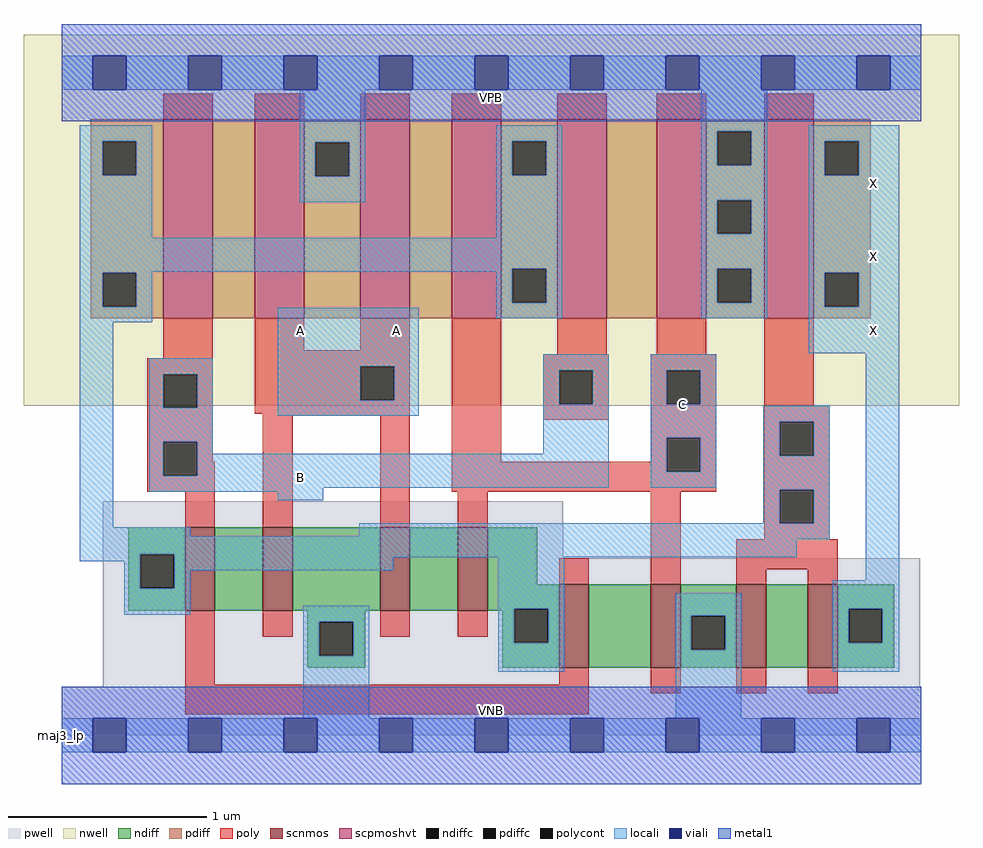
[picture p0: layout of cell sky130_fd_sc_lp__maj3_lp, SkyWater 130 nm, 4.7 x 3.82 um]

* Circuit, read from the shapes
.subckt sky130_fd_sc_lp__maj3_lp A B C VGND VNB VPB VPWR X
XM1 n1 B n2 VNB sky130_fd_pr__nfet_01v8 w=0.42 l=0.15
XM2 VGND A n1 VNB sky130_fd_pr__nfet_01v8 w=0.42 l=0.15
XM3 n3 A VGND VNB sky130_fd_pr__nfet_01v8 w=0.42 l=0.15
XM4 n2 C n3 VNB sky130_fd_pr__nfet_01v8 w=0.42 l=0.15
XM5 n4 B n2 VNB sky130_fd_pr__nfet_01v8 w=0.42 l=0.15
XM6 VGND C n4 VNB sky130_fd_pr__nfet_01v8 w=0.42 l=0.15
XM7 n5 n2 VGND VNB sky130_fd_pr__nfet_01v8 w=0.42 l=0.15
XM8 X n2 n5 VNB sky130_fd_pr__nfet_01v8 w=0.42 l=0.15
XM9 n6 B n2 VPB sky130_fd_pr__pfet_01v8_hvt w=1 l=0.25
XM10 VPWR A n6 VPB sky130_fd_pr__pfet_01v8_hvt w=1 l=0.25
XM11 n7 A VPWR VPB sky130_fd_pr__pfet_01v8_hvt w=1 l=0.25
XM12 n2 C n7 VPB sky130_fd_pr__pfet_01v8_hvt w=1 l=0.25
XM13 n8 B n2 VPB sky130_fd_pr__pfet_01v8_hvt w=1 l=0.25
XM14 VPWR C n8 VPB sky130_fd_pr__pfet_01v8_hvt w=1 l=0.25
XM15 X n2 VPWR VPB sky130_fd_pr__pfet_01v8_hvt w=1 l=0.25
.ends

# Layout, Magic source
magic
tech sky130A
magscale 1 2
<< nwell >>
rect -38 331 902 704
<< pwell >>
rect 41 178 504 235
rect 41 49 863 178
rect 0 0 864 49
<< scnmos >>
rect 124 125 154 209
rect 202 125 232 209
rect 320 125 350 209
rect 398 125 428 209
rect 500 68 530 152
rect 592 68 622 152
rect 678 68 708 152
rect 750 68 780 152
<< scpmoshvt >>
rect 102 419 152 619
rect 194 419 244 619
rect 300 419 350 619
rect 392 419 442 619
rect 498 419 548 619
rect 598 419 648 619
rect 706 419 756 619
<< ndiff >>
rect 67 182 124 209
rect 67 148 79 182
rect 113 148 124 182
rect 67 125 124 148
rect 154 125 202 209
rect 232 125 320 209
rect 350 125 398 209
rect 428 152 478 209
rect 428 127 500 152
rect 428 125 455 127
rect 247 114 305 125
rect 247 80 259 114
rect 293 80 305 114
rect 247 68 305 80
rect 443 93 455 125
rect 489 93 500 127
rect 443 68 500 93
rect 530 68 592 152
rect 622 120 678 152
rect 622 86 633 120
rect 667 86 678 120
rect 622 68 678 86
rect 708 68 750 152
rect 780 127 837 152
rect 780 93 791 127
rect 825 93 837 127
rect 780 68 837 93
<< pdiff >>
rect 29 597 102 619
rect 29 563 41 597
rect 75 563 102 597
rect 29 465 102 563
rect 29 431 41 465
rect 75 431 102 465
rect 29 419 102 431
rect 152 419 194 619
rect 244 596 300 619
rect 244 562 255 596
rect 289 562 300 596
rect 244 419 300 562
rect 350 419 392 619
rect 442 597 498 619
rect 442 563 453 597
rect 487 563 498 597
rect 442 469 498 563
rect 442 435 453 469
rect 487 435 498 469
rect 442 419 498 435
rect 548 419 598 619
rect 648 607 706 619
rect 648 573 659 607
rect 693 573 706 607
rect 648 538 706 573
rect 648 504 659 538
rect 693 504 706 538
rect 648 469 706 504
rect 648 435 659 469
rect 693 435 706 469
rect 648 419 706 435
rect 756 597 813 619
rect 756 563 767 597
rect 801 563 813 597
rect 756 465 813 563
rect 756 431 767 465
rect 801 431 813 465
rect 756 419 813 431
<< ndiffc >>
rect 79 148 113 182
rect 259 80 293 114
rect 455 93 489 127
rect 633 86 667 120
rect 791 93 825 127
<< pdiffc >>
rect 41 563 75 597
rect 41 431 75 465
rect 255 562 289 596
rect 453 563 487 597
rect 453 435 487 469
rect 659 573 693 607
rect 659 504 693 538
rect 659 435 693 469
rect 767 563 801 597
rect 767 431 801 465
<< poly >>
rect 102 619 152 645
rect 194 619 244 645
rect 300 619 350 645
rect 392 619 442 645
rect 498 619 548 645
rect 598 619 648 645
rect 706 619 756 645
rect 102 379 152 419
rect 86 363 152 379
rect 86 329 102 363
rect 136 329 152 363
rect 86 295 152 329
rect 194 387 244 419
rect 300 387 350 419
rect 194 371 350 387
rect 194 337 300 371
rect 334 337 350 371
rect 194 323 350 337
rect 86 261 102 295
rect 136 275 152 295
rect 202 321 350 323
rect 136 261 154 275
rect 86 245 154 261
rect 124 209 154 245
rect 202 209 232 321
rect 320 209 350 321
rect 392 275 442 419
rect 498 383 548 419
rect 598 383 648 419
rect 484 367 550 383
rect 484 333 500 367
rect 534 333 550 367
rect 484 317 550 333
rect 592 367 658 383
rect 592 333 608 367
rect 642 333 658 367
rect 592 299 658 333
rect 592 275 608 299
rect 392 265 608 275
rect 642 265 658 299
rect 392 245 658 265
rect 706 331 756 419
rect 706 315 772 331
rect 706 281 722 315
rect 756 281 772 315
rect 706 247 772 281
rect 398 209 428 245
rect 500 152 530 178
rect 592 152 622 245
rect 706 213 722 247
rect 756 213 772 247
rect 706 197 772 213
rect 678 167 780 197
rect 678 152 708 167
rect 750 152 780 167
rect 124 51 154 125
rect 202 99 232 125
rect 320 99 350 125
rect 398 99 428 125
rect 500 51 530 68
rect 124 21 530 51
rect 592 42 622 68
rect 678 42 708 68
rect 750 42 780 68
<< polycont >>
rect 102 329 136 363
rect 300 337 334 371
rect 102 261 136 295
rect 500 333 534 367
rect 608 333 642 367
rect 608 265 642 299
rect 722 281 756 315
rect 722 213 756 247
<< locali >>
rect 0 649 31 683
rect 65 649 127 683
rect 161 649 223 683
rect 257 649 319 683
rect 353 649 415 683
rect 449 649 511 683
rect 545 649 607 683
rect 641 649 703 683
rect 737 649 799 683
rect 833 649 864 683
rect 18 597 91 613
rect 18 563 41 597
rect 75 563 91 597
rect 18 500 91 563
rect 239 596 305 649
rect 239 562 255 596
rect 289 562 305 596
rect 239 536 305 562
rect 437 597 503 613
rect 437 563 453 597
rect 487 563 503 597
rect 437 500 503 563
rect 18 469 503 500
rect 18 466 453 469
rect 18 465 91 466
rect 18 431 41 465
rect 75 431 91 465
rect 18 415 91 431
rect 437 435 453 466
rect 487 435 503 469
rect 18 209 52 415
rect 88 363 152 379
rect 88 329 102 363
rect 136 329 152 363
rect 88 295 152 329
rect 217 371 359 430
rect 437 419 503 435
rect 643 607 709 649
rect 643 573 659 607
rect 693 573 709 607
rect 643 538 709 573
rect 643 504 659 538
rect 693 504 709 538
rect 643 469 709 504
rect 643 435 659 469
rect 693 435 709 469
rect 643 419 709 435
rect 751 597 842 613
rect 751 563 767 597
rect 801 563 842 597
rect 751 465 842 563
rect 751 431 767 465
rect 801 431 842 465
rect 751 384 842 431
rect 217 337 300 371
rect 334 337 359 371
rect 217 321 359 337
rect 484 367 550 383
rect 484 333 500 367
rect 534 333 550 367
rect 88 261 102 295
rect 136 283 152 295
rect 484 283 550 333
rect 136 261 550 283
rect 88 249 550 261
rect 592 367 658 383
rect 592 333 608 367
rect 642 333 658 367
rect 592 299 658 333
rect 592 265 608 299
rect 642 265 658 299
rect 592 249 658 265
rect 705 315 772 331
rect 705 281 722 315
rect 756 281 772 315
rect 88 245 263 249
rect 217 236 263 245
rect 705 247 772 281
rect 705 213 722 247
rect 756 213 772 247
rect 18 200 129 209
rect 299 200 772 213
rect 18 197 772 200
rect 18 182 739 197
rect 18 175 79 182
rect 63 148 79 175
rect 113 179 739 182
rect 113 166 333 179
rect 113 148 129 166
rect 63 121 129 148
rect 243 114 309 130
rect 243 80 259 114
rect 293 80 309 114
rect 243 17 309 80
rect 439 127 505 179
rect 808 156 842 384
rect 439 93 455 127
rect 489 93 505 127
rect 439 64 505 93
rect 617 120 683 143
rect 617 86 633 120
rect 667 86 683 120
rect 617 17 683 86
rect 775 127 842 156
rect 775 93 791 127
rect 825 93 842 127
rect 775 64 842 93
rect 0 -17 31 17
rect 65 -17 127 17
rect 161 -17 223 17
rect 257 -17 319 17
rect 353 -17 415 17
rect 449 -17 511 17
rect 545 -17 607 17
rect 641 -17 703 17
rect 737 -17 799 17
rect 833 -17 864 17
<< viali >>
rect 31 649 65 683
rect 127 649 161 683
rect 223 649 257 683
rect 319 649 353 683
rect 415 649 449 683
rect 511 649 545 683
rect 607 649 641 683
rect 703 649 737 683
rect 799 649 833 683
rect 31 -17 65 17
rect 127 -17 161 17
rect 223 -17 257 17
rect 319 -17 353 17
rect 415 -17 449 17
rect 511 -17 545 17
rect 607 -17 641 17
rect 703 -17 737 17
rect 799 -17 833 17
<< metal1 >>
rect 0 683 864 715
rect 0 649 31 683
rect 65 649 127 683
rect 161 649 223 683
rect 257 649 319 683
rect 353 649 415 683
rect 449 649 511 683
rect 545 649 607 683
rect 641 649 703 683
rect 737 649 799 683
rect 833 649 864 683
rect 0 617 864 649
rect 0 17 864 49
rect 0 -17 31 17
rect 65 -17 127 17
rect 161 -17 223 17
rect 257 -17 319 17
rect 353 -17 415 17
rect 449 -17 511 17
rect 545 -17 607 17
rect 641 -17 703 17
rect 737 -17 799 17
rect 833 -17 864 17
rect 0 -49 864 -17
<< labels >>
flabel pwell s 0 0 864 49 0 FreeSans 200 0 0 0 VNB
port 5 nsew ground bidirectional
flabel nwell s 0 617 864 666 0 FreeSans 200 0 0 0 VPB
port 6 nsew power bidirectional
rlabel comment s 0 0 0 0 4 maj3_lp
flabel metal1 s 0 617 864 666 0 FreeSans 340 0 0 0 VPWR
port 7 nsew power bidirectional
flabel metal1 s 0 0 864 49 0 FreeSans 340 0 0 0 VGND
port 4 nsew ground bidirectional
flabel locali s 223 390 257 424 0 FreeSans 340 0 0 0 A
port 1 nsew signal input
flabel locali s 319 390 353 424 0 FreeSans 340 0 0 0 A
port 1 nsew signal input
flabel locali s 607 316 641 350 0 FreeSans 340 0 0 0 C
port 3 nsew signal input
flabel locali s 223 242 257 276 0 FreeSans 340 0 0 0 B
port 2 nsew signal input
flabel locali s 799 390 833 424 0 FreeSans 340 0 0 0 X
port 8 nsew signal output
flabel locali s 799 464 833 498 0 FreeSans 340 0 0 0 X
port 8 nsew signal output
flabel locali s 799 538 833 572 0 FreeSans 340 0 0 0 X
port 8 nsew signal output
<< properties >>
string LEFsite unit
string LEFclass CORE
string FIXED_BBOX 0 0 864 666
string GDS_FILE $PDKPATH/libs.ref/sky130_fd_sc_lp/gds/sky130_fd_sc_lp.gds
string LEFsymmetry X Y R90
string GDS_END 6751622
string GDS_START 6744790
<< end >>
